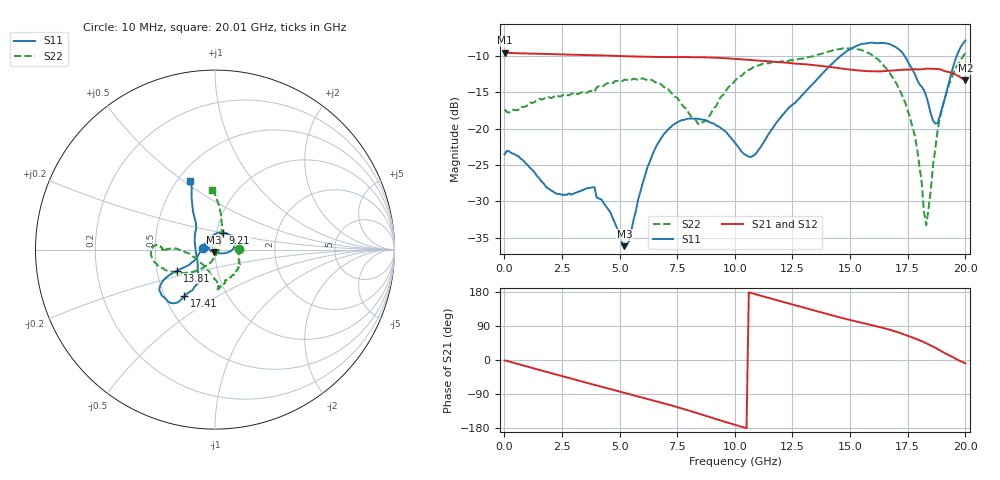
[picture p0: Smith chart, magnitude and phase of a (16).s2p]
! Hittite Microwave Corporation
! 2 Elizabeth Drive
! Chelmsford, MA 01824
! http://www.hittite.com
! Tel: 978-250-3343
! Fax: 978-250-3373
! Device:  HMC424LP3
! Description: 0.5 dB GaAs MMIC 6-Bit Digital Attenuator
! Frequency:  DC -  13.00 GHz
! Package:  LP3  - 3x3 mm Quad Flatpack No-Lead (QFN) Plastic Package: 16 pin
! Ports:  2 RF, 7 DC
!  Pad  1  = Ground
!  Pad  2  = RF IN  = Port 1
!  Pad  3  = Ground
!  Pad  4  = V6
!  Pad  5  = V5
!  Pad  6  = V4
!  Pad  7  = V3
!  Pad  8  = V2
!  Pad  9  = V1
!  Pad 10  = Ground
!  Pad 11  = RF OUT  = Port 2
!  Pad 12  = Ground
!  Pad 15  = VEE
! Control:  -5 Volt control voltage
! State:  14
! Attenuation:  7.0 dB
! Voltages:  Vdd = -5.00 Volts  Idd =  -2.560 mA
!  V1  = 0.00 Volts  I1  =  29.0 uA
!  V2  = -5.00 Volts  I2  =  -1.0 uA
!  V3  = -5.00 Volts  I3  =  -1.0 uA
!  V4  = -5.00 Volts  I4  =  -1.0 uA
!  V5  = 0.00 Volts  I5  =  30.0 uA
!  V6  = 0.00 Volts  I6  =  30.0 uA
! Data:  The device was measured on evaluation board 105354-1.
!  Data was collected using a calibrated network analyzer.
!  The evaluation circuit board was modeled and simulated.  This was use
!  to removed the evaluation board circuit from the measured data.
!  The reference plane is the edge of the package pin.
! Misc:  Lot xxxx, Unit 1
!  Application 20120001, Data collected in Application 20090083
! Date Measured:  2009-09-15
! Date:  2012-05-14  MJV
! Note:
!  Hittite supplies this data as a sample of measured data at the package pin
!  for this product.  Your particular data for this product may vary.
!  Data was taken at 25 degrees C.
!  Hittite reserves the right to change this data at anytime.
# GHz S MA R 50
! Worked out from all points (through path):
!   201 points, 10 MHz to 20.01 GHz, reference 50 ohm
!   highest |S21| = -9.52 dB at 10 MHz (marker M1); lowest = -13.3 dB at 20.01 GHz (marker M2)
!   group delay of S21, straight-line fit = 48.4 ps
!   lowest |S11| = -36.2 dB at 5.21 GHz (marker M3), VSWR 1.03, Z = 49.3 - j1.39 ohm
!   |S11| at or under -10 dB: start of sweep to 14.58 GHz; 17.37 GHz to 19.63 GHz (2.258 GHz wide, 12.2 % of centre)
!   |S22| runs from -33.3 to -8.9 dB; largest |S21 - S12| = 0.0016
!   S11 on the Smith chart (normalised r, x): 10 MHz: 0.88, +0.01; 9.21 GHz: 1.08, +0.20; 13.81 GHz: 0.64, -0.16; 17.41 GHz: 0.63, -0.36; 20.01 GHz: 0.58, +0.53
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0.01  0.06657 172.7  0.3343 -1.2  0.3345 -0.9  0.1362 1.8
2.21  0.03604 159.2  0.3262 -37.7  0.3258 -37.7  0.1692 -40.4
3.41  0.03794 153.5  0.3227 -57.4  0.3222 -57.5  0.1788 -60.6
3.91  0.03972 161.7  0.3205 -65.6  0.3202 -65.6  0.1797 -71.6
5.21  0.01556 -115.0  0.316 -86.5  0.3155 -86.5  0.218 -84.6
6.21  0.05437 -22.0  0.3131 -102.6  0.3124 -102.5  0.2153 -85.8
6.71  0.08137 -8.2  0.312 -110.8  0.3115 -110.8  0.2066 -85.2
8.41  0.1171 35.8  0.3106 -140.9  0.3101 -140.9  0.1077 -125.2
9.21  0.1049 63.8  0.3081 -156.2  0.3078 -156.2  0.1446 -170.3
10.01  0.07998 97.8  0.3028 -171.0  0.3022 -171.0  0.2143 178.5
10.91  0.06712 164.3  0.2954 173.3  0.2951 173.3  0.2707 180.0
13.41  0.2051 -150.3  0.2745 131.2  0.2739 131.3  0.3156 175.4
13.81  0.2409 -150.8  0.2701 124.5  0.2697 124.6  0.3298 175.4
15.51  0.3832 -144.1  0.2506 98.3  0.2503 98.3  0.3477 -169.4
16.71  0.3829 -128.6  0.2507 80.1  0.2503 80.2  0.2444 -147.9
17.41  0.3099 -123.3  0.2554 66.2  0.255 66.2  0.1496 -129.4
17.91  0.2187 -117.8  0.2562 54.5  0.2558 54.5  0.07369 -107.0
18.31  0.168 -123.6  0.259 44.2  0.2587 44.2  0.02168 -29.4
18.71  0.1085 -165.2  0.2588 32.2  0.2585 32.2  0.07388 61.4
19.01  0.1417 141.8  0.2531 21.7  0.2528 21.7  0.1397 74.0
19.61  0.31 114.8  0.2355 2.4  0.2351 2.5  0.2646 86.5
20.01  0.4053 110.2  0.2162 -8.6  0.216 -8.5  0.331 92.6
